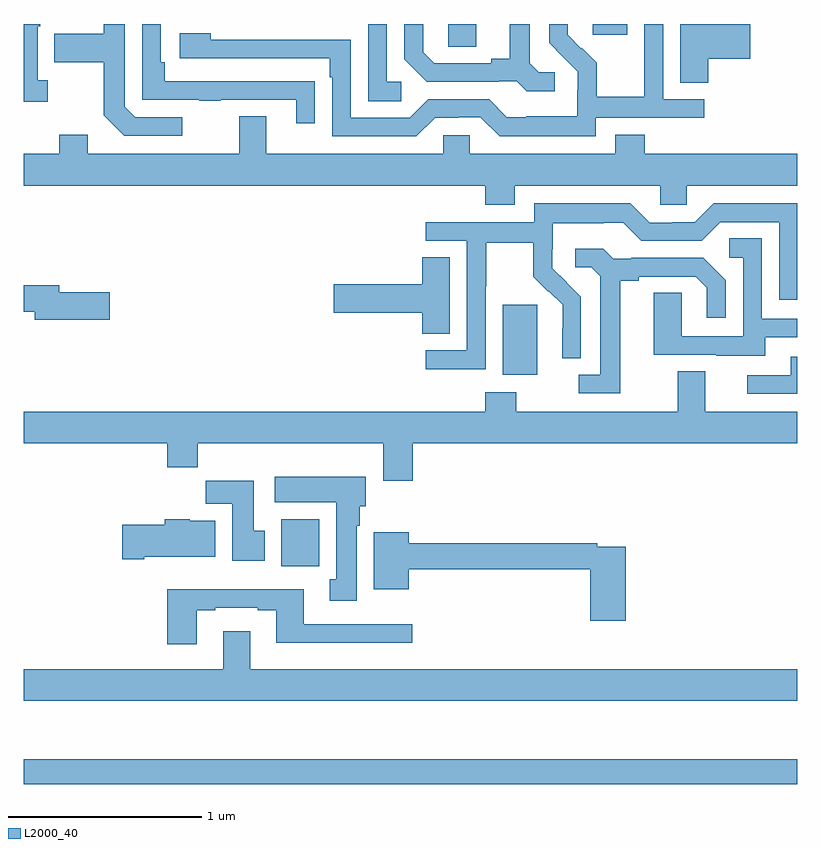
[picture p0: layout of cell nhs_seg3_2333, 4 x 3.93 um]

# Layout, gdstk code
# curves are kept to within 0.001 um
import gdstk
lib = gdstk.Library(unit=1e-6, precision=1e-09)
def R(c, l, rs):  # rectangles x0, y0, x1, y1
    for r in rs: c.add(gdstk.rectangle(r[:2], r[2:], *l))
def P(c, l, *ps):  # polygons
    for p in ps: c.add(gdstk.Polygon(p, *l))
L2000_40 = (2000, 40)

nhs_seg3_2333 = lib.new_cell('nhs_seg3_2333')
R(nhs_seg3_2333, L2000_40, [(231,716.47,235,716.599), (232.331,717.596,232.528,717.838), (233.477,718.586,233.656,718.947), (233.196,720.283,233.341,720.4), (233.942,720.345,234.121,720.4)])
P(nhs_seg3_2333, L2000_40, [(232.505,720.104),(232.403,720.104),(232.403,720.105),(231.728,720.105),(231.728,720.202),(231.708,720.202),(231.708,720.4),(231.612,720.4),(231.612,720.009),(231.907,720.009),(231.907,720.004),(232.019,720.004),(232.019,720.009),(232.409,720.009),(232.409,719.886),(232.505,719.886)],
  [(233.746,720.15),(233.664,720.15),(233.617,720.197),(233.617,720.4),(233.513,720.4),(233.513,720.221),(233.417,720.221),(233.417,720.198),(233.122,720.198),(233.065,720.255),(233.065,720.4),(232.968,720.4),(232.968,720.218),(233.084,720.102),(233.456,720.102),(233.456,720.105),(233.55,720.105),(233.602,720.053),(233.746,720.053)],
  [(232.951,720.102),(232.878,720.102),(232.878,720.4),(232.782,720.4),(232.782,720.001),(232.951,720.001)],
  [(233.958,719.916),(234.52,719.916),(234.52,720.012),(234.306,720.012),(234.306,720.4),(234.21,720.4),(234.21,720.248),(234.208,720.248),(234.208,720.025),(233.963,720.025),(233.963,720.199),(233.886,720.276),(233.883,720.273),(233.813,720.344),(233.813,720.4),(233.718,720.4),(233.718,720.302),(233.864,720.154),(233.864,720.057),(233.862,720.057),(233.862,719.923),(233.599,719.923),(233.599,719.919),(233.499,719.919),(233.406,720.012),(233.091,720.012),(232.995,719.916),(232.692,719.916),(232.692,720.318),(231.968,720.318),(231.968,720.352),(231.807,720.352),(231.807,720.222),(232.583,720.222),(232.583,720.125),(232.596,720.125),(232.596,719.82),(233.031,719.82),(233.127,719.916),(233.246,719.916),(233.246,719.919),(233.361,719.919),(233.461,719.819),(233.958,719.819)],
  [(231.82,719.919),(231.576,719.919),(231.522,719.973),(231.522,720.4),(231.414,720.4),(231.414,720.349),(231.157,720.349),(231.157,720.202),(231.414,720.202),(231.414,719.929),(231.519,719.823),(231.82,719.823)],
  [(231.124,720.11),(231.072,720.11),(231.072,720.389),(231.085,720.389),(231.085,720.4),(231,720.4),(231,719.997),(231.124,719.997)],
  [(234.539,720.221),(234.757,720.221),(234.757,720.4),(234.395,720.4),(234.395,720.097),(234.539,720.097)],
  [(233.387,719.465),(233.539,719.465),(233.539,719.564),(234.291,719.564),(234.291,719.466),(234.429,719.466),(234.429,719.564),(235,719.564),(235,719.728),(234.212,719.728),(234.212,719.827),(234.059,719.827),(234.059,719.728),(233.307,719.728),(233.307,719.826),(233.169,719.826),(233.169,719.728),(232.255,719.728),(232.255,719.923),(232.115,719.923),(232.115,719.728),(231.331,719.728),(231.331,719.827),(231.184,719.827),(231.184,719.728),(231,719.728),(231,719.564),(233.387,719.564)],
  [(233.388,719.044),(233.391,719.044),(233.391,719.268),(233.635,719.268),(233.635,719.093),(233.712,719.016),(233.715,719.019),(233.786,718.949),(233.786,718.826),(233.784,718.826),(233.784,718.672),(233.88,718.672),(233.88,718.99),(233.734,719.138),(233.734,719.235),(233.736,719.235),(233.736,719.369),(233.999,719.369),(233.999,719.373),(234.099,719.373),(234.192,719.28),(234.507,719.28),(234.603,719.376),(234.906,719.376),(234.906,718.974),(235,718.974),(235,719.472),(234.567,719.472),(234.471,719.376),(234.353,719.376),(234.353,719.373),(234.237,719.373),(234.137,719.473),(233.64,719.473),(233.64,719.376),(233.079,719.376),(233.079,719.28),(233.292,719.28),(233.292,718.713),(233.079,718.713),(233.079,718.615),(233.388,718.615)],
  [(234.835,718.779),(235,718.779),(235,718.875),(234.816,718.875),(234.816,719.291),(234.648,719.291),(234.648,719.19),(234.72,719.19),(234.72,718.785),(234.402,718.785),(234.402,719.009),(234.257,719.009),(234.257,718.689),(234.581,718.689),(234.581,718.685),(234.835,718.685)],
  [(234.085,719.072),(234.181,719.072),(234.181,719.094),(234.476,719.094),(234.533,719.037),(234.533,718.881),(234.63,718.881),(234.63,719.074),(234.514,719.19),(234.142,719.19),(234.142,719.187),(234.048,719.187),(233.996,719.239),(233.853,719.239),(233.853,719.142),(233.934,719.142),(233.981,719.095),(233.981,718.587),(233.871,718.587),(233.871,718.491),(234.085,718.491)],
  [(233.203,719.195),(233.06,719.195),(233.06,719.054),(232.602,719.054),(232.602,718.907),(233.06,718.907),(233.06,718.798),(233.203,718.798)],
  [(231.445,719.012),(231.184,719.012),(231.184,719.048),(231,719.048),(231,718.912),(231.056,718.912),(231.056,718.87),(231.445,718.87)],
  [(235,718.68),(234.965,718.68),(234.965,718.584),(234.741,718.584),(234.741,718.488),(235,718.488)],
  [(233.012,718.232),(235,718.232),(235,718.396),(234.523,718.396),(234.523,718.604),(234.383,718.604),(234.383,718.396),(233.547,718.396),(233.547,718.495),(233.387,718.495),(233.387,718.396),(231,718.396),(231,718.232),(231.743,718.232),(231.743,718.108),(231.899,718.108),(231.899,718.232),(232.859,718.232),(232.859,718.038),(233.012,718.038)],
  [(232.723,717.806),(232.738,717.806),(232.738,717.906),(232.768,717.906),(232.768,718.06),(232.299,718.06),(232.299,717.926),(232.616,717.926),(232.616,717.53),(232.583,717.53),(232.583,717.417),(232.723,717.417)],
  [(232.246,717.78),(232.189,717.78),(232.189,718.039),(231.94,718.039),(231.94,717.92),(232.079,717.92),(232.079,717.624),(232.246,717.624)],
  [(231.622,717.644),(231.991,717.644),(231.991,717.832),(231.858,717.832),(231.858,717.838),(231.728,717.838),(231.728,717.81),(231.51,717.81),(231.51,717.632),(231.622,717.632)],
  [(234.113,717.696),(233.966,717.696),(233.966,717.716),(232.99,717.716),(232.99,717.772),(232.811,717.772),(232.811,717.476),(232.99,717.476),(232.99,717.58),(233.93,717.58),(233.93,717.315),(234.113,717.315)],
  [(231.895,717.369),(231.991,717.369),(231.991,717.381),(232.211,717.381),(232.211,717.369),(232.307,717.369),(232.307,717.2),(233.008,717.2),(233.008,717.297),(232.447,717.297),(232.447,717.478),(231.743,717.478),(231.743,717.192),(231.895,717.192)],
  [(235,717.064),(232.171,717.064),(232.171,717.259),(232.031,717.259),(232.031,717.064),(231,717.064),(231,716.9),(235,716.9)])

lib.write_gds('nhs_seg3_2333.gds')
